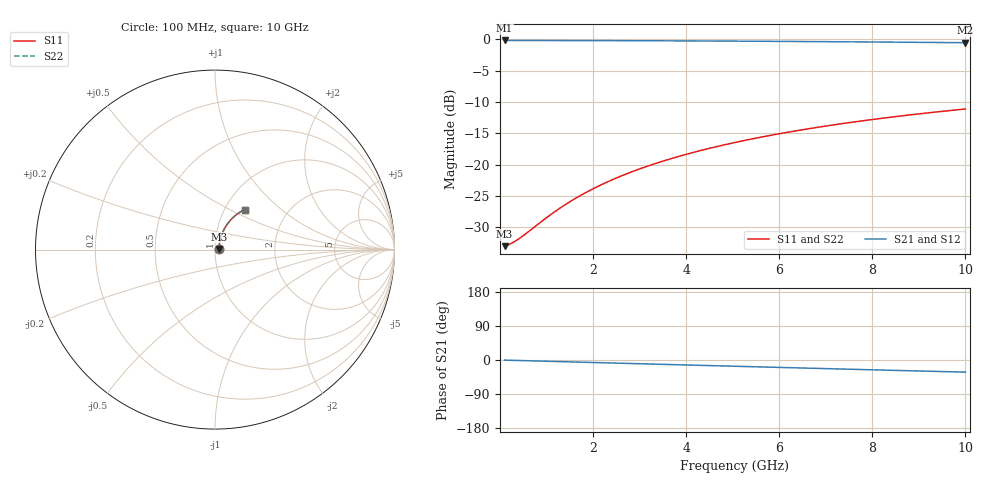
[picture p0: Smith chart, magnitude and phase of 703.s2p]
# Hz S RI R 50.00
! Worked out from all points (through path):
!   100 points, 100 MHz to 10 GHz, reference 50 ohm
!   highest |S21| = -0.19 dB at 100 MHz (marker M1); lowest = -0.6 dB at 10 GHz (marker M2)
!   group delay of S21, straight-line fit = 8.92 ps
!   lowest |S11| = -33.0 dB at 100 MHz (marker M3), VSWR 1.05, Z = 52.3 + j0.301 ohm
!   |S11| at or under -10 dB: start of sweep to end of sweep
!   |S22| runs from -33.0 to -11.1 dB; largest |S21 - S12| = 0
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1e8  0.0221 0.00288  0.9779 -0.00562  0.9779 -0.00562  0.0221 0.00288
2e8  0.0223 0.00575  0.9777 -0.0112  0.9777 -0.0112  0.0223 0.00575
3e8  0.0225 0.00862  0.9774 -0.0169  0.9774 -0.0169  0.0225 0.00862
4e8  0.0227 0.0115  0.9772 -0.0225  0.9772 -0.0225  0.0227 0.0115
6e8  0.0232 0.0172  0.9767 -0.0337  0.9767 -0.0337  0.0232 0.0172
1e9  0.0244 0.0286  0.9752 -0.0561  0.9752 -0.0561  0.0244 0.0286
1.2e9  0.0253 0.0343  0.9742 -0.0673  0.9742 -0.0673  0.0253 0.0343
1.5e9  0.0267 0.0428  0.9724 -0.084  0.9724 -0.084  0.0267 0.0428
1.8e9  0.0284 0.0512  0.9703 -0.1006  0.9703 -0.1006  0.0284 0.0512
2.1e9  0.0304 0.0595  0.9679 -0.1172  0.9679 -0.1172  0.0304 0.0595
2.5e9  0.0335 0.0705  0.964 -0.1392  0.964 -0.1392  0.0335 0.0705
2.9e9  0.0371 0.0813  0.9596 -0.161  0.9596 -0.161  0.0371 0.0813
3.4e9  0.0422 0.0946  0.9533 -0.188  0.9533 -0.188  0.0422 0.0946
3.8e9  0.0469 0.1049  0.9475 -0.2093  0.9475 -0.2093  0.0469 0.1049
4.2e9  0.052 0.115  0.9412 -0.2304  0.9412 -0.2304  0.052 0.115
4.6e9  0.0575 0.1249  0.9343 -0.2513  0.9343 -0.2513  0.0575 0.1249
5.1e9  0.065 0.1367  0.9249 -0.2769  0.9249 -0.2769  0.065 0.1367
5.9e9  0.0783 0.1547  0.9082 -0.3169  0.9082 -0.3169  0.0783 0.1547
6.7e9  0.0931 0.1712  0.8895 -0.3554  0.8895 -0.3554  0.0931 0.1712
7.5e9  0.1091 0.1863  0.8691 -0.3925  0.8691 -0.3925  0.1091 0.1863
8.4e9  0.1284 0.2013  0.8441 -0.4324  0.8441 -0.4324  0.1284 0.2013
1e10  0.1655 0.2228  0.7953 -0.4979  0.7953 -0.4979  0.1655 0.2228
